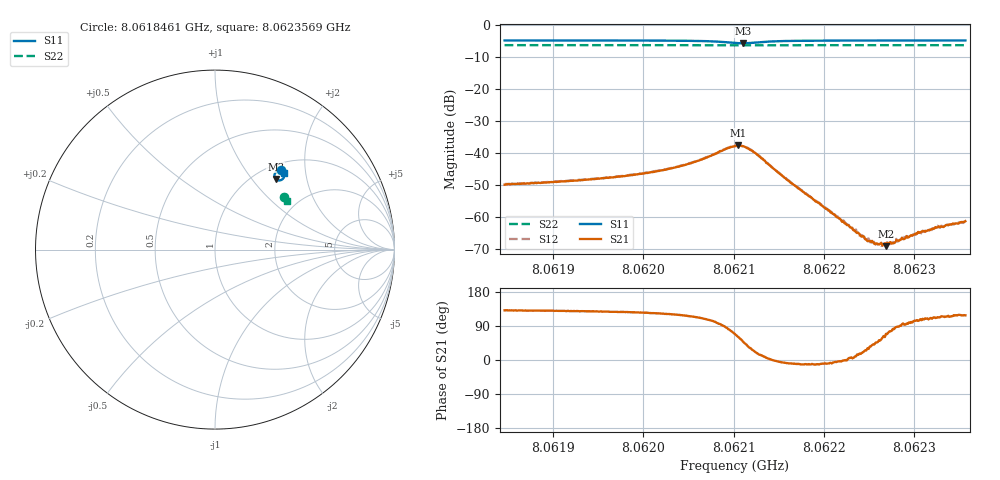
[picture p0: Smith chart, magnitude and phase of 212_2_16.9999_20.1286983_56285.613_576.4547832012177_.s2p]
#  HZ  S  RI  R  50.00
! Rohde & Schwarz Vector Network Analyzer
! Rohde-Schwarz,ZNB20-2Port,1311601062101988,3.16
! Created: UTC 3/20/2024, 11:01:36 PM
! freq[Hz]  re:S11  im:S11  re:S21  im:S21  re:S12  im:S12  re:S22  im:S22
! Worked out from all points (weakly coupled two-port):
!   401 points, 8.0618461 GHz to 8.0623569 GHz, reference 50 ohm
!   highest |S21| = -37.66 dB at 8.0621053 GHz (marker M1); lowest = -69.2 dB at 8.0622688 GHz (marker M2)
!   lowest |S11| = -5.7 dB at 8.0621104 GHz (marker M3), VSWR 3.16, Z = 61.7 + j66.5 ohm
!   |S11| at or under -10 dB: nowhere
!   |S22| runs from -6.3 to -6.3 dB; largest |S21 - S12| = 0.001
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8.06184605e9  0.3665 0.4441  -0.00209 0.00241  -0.00199 0.00257  0.3869 0.2951
8.06193162e9  0.373 0.438  -0.00237 0.00293  -0.00223 0.00308  0.3899 0.2909
8.06197759e9  0.3771 0.4338  -0.0026 0.00349  -0.0024 0.00371  0.3914 0.2885
8.06201718e9  0.3811 0.4279  -0.00285 0.00439  -0.00262 0.00463  0.3927 0.2863
8.06205549e9  0.3849 0.4167  -0.00294 0.00652  -0.00257 0.00678  0.3941 0.2841
8.06210147e9  0.3564 0.3856  0.0048 0.012  0.00537 0.0117  0.3938 0.281
8.0621053e9  0.3485 0.3874  0.00656 0.0113  0.00718 0.0108  0.3936 0.281
8.06211041e9  0.3389 0.3936  0.0085 0.00952  0.00912 0.00914  0.3935 0.2813
8.06211679e9  0.3322 0.4056  0.00964 0.00644  0.0101 0.00597  0.3935 0.2815
8.06212573e9  0.3328 0.4217  0.00902 0.00301  0.00918 0.00247  0.3941 0.2818
8.06216149e9  0.3569 0.4395  0.00358 -0.000568  0.00357 -0.000754  0.3966 0.2806
8.06218703e9  0.3659 0.4387  0.00192 -0.00035  0.00187 -0.000468  0.3976 0.2792
8.062233e9  0.3744 0.4353  0.000611 6.35e-05  0.000617 3.52e-05  0.3993 0.2768
8.06223939e9  0.3753 0.435  0.000515 0.000156  0.000503 0.000101  0.3997 0.2764
8.06224833e9  0.3765 0.4342  0.000358 0.000215  0.000421 0.000172  0.4001 0.2759
8.06226238e9  0.378 0.4332  0.000237 0.000298  0.000254 0.000267  0.4004 0.2752
8.06226876e9  0.3787 0.4327  0.000125 0.000325  0.000177 0.000335  0.4007 0.2749
8.06227259e9  0.3791 0.4325  9.81e-05 0.000382  0.00017 0.000354  0.4007 0.2748
8.0622892e9  0.3807 0.4315  -2.44e-05 0.000449  -9.8e-06 0.00048  0.4013 0.2739
8.06231729e9  0.3832 0.4298  -0.000205 0.000583  -0.000179 0.000604  0.4023 0.2725
8.06232368e9  0.3837 0.4293  -0.000245 0.000646  -0.000242 0.000643  0.4024 0.2721
8.06235688e9  0.3862 0.4273  -0.0004 0.000757  -0.000344 0.000772  0.4036 0.2704
